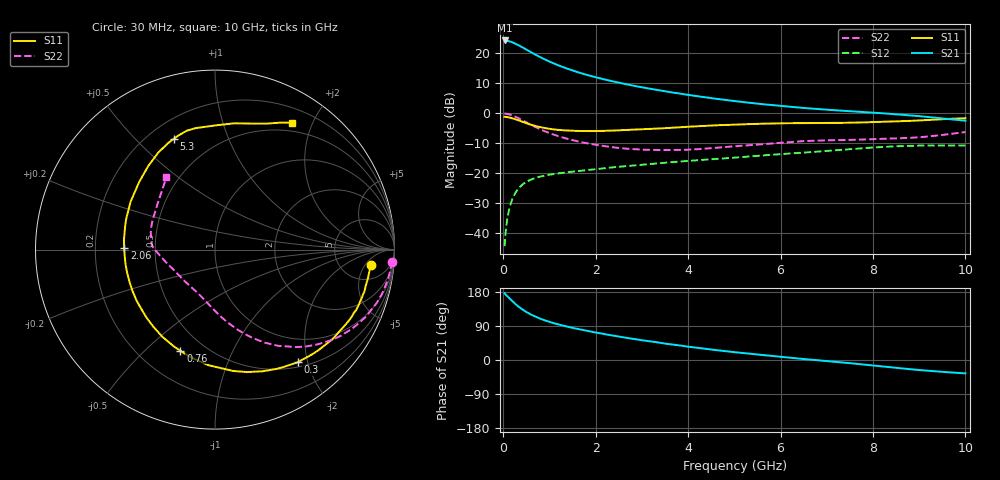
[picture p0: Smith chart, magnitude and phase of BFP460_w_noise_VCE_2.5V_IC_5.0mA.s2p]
! (c) 2016  Infineon Technologies AG, Munich
! Infineon Technologies  Discrete & RF Semiconductors
! BFP460
! VCE =  2.5 V,  IC =  5.0 mA
! Common Emitter S-Parameters:  Jan 2016
# GHz  S  MA  R  50
!  f  S11  S21  S12  S22
! GHz  MAG  ANG  MAG  ANG  MAG  ANG  MAG  ANG
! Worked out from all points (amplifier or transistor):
!   229 points, 30 MHz to 10 GHz, reference 50 ohm
!   highest |S21| = 24.3 dB at 30 MHz (marker M1)
!   |S21| within 3 dB of that: start of sweep to 495.3 MHz
!   unconditionally stable (mu >= 1): 3.087 GHz to 7.92 GHz
!   at 280 MHz: K = 0.16, MSG = 24.6 dB, |S12| = -26.1 dB
!   at 1.78 GHz: K = 0.76, MSG = 15.9 dB, |S12| = -19.0 dB
!   at 10 GHz: K = 0.95, MSG = 4.1 dB, |S12| = -10.7 dB
!   lowest NFmin = 0.78 dB at 450 MHz
!   S11 on the Smith chart (normalised r, x): 30 MHz: 9, -7; 300 MHz: 0.57, -1.83; 760 MHz: 0.37, -0.65; 2.06 GHz: 0.33, +0.01; 5.3 GHz: 0.30, +0.65; 10 GHz: 0.38, +1.71
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0.03  0.8718 -5.8  16.32 176.3  0.0061 86.3  0.9874 -3.9
0.05  0.8677 -9.4  16.2 172.8  0.0101 84.3  0.9842 -6.3
0.07  0.8636 -13.4  16.25 170.3  0.0139 82.2  0.9798 -8.8
0.155  0.8405 -29.3  15.59 159.9  0.0298 74.0  0.9443 -19.1
0.22  0.8126 -40.5  14.94 152.5  0.0406 68.2  0.9045 -26.3
0.3  0.7784 -53.8  13.99 143.9  0.052 62.0  0.849 -34.5
0.4  0.7284 -68.5  12.72 134.6  0.0633 55.5  0.7748 -43.1
0.48  0.6912 -79.0  11.73 128.3  0.0703 51.2  0.7184 -49.0
0.6  0.645 -93.3  10.4 119.9  0.0786 46.1  0.6424 -56.6
0.76  0.5954 -108.9  8.918 111.2  0.0864 41.3  0.559 -64.5
0.9  0.5676 -121.0  7.883 104.6  0.0916 38.4  0.5006 -70.4
1.1  0.5378 -135.2  6.719 96.9  0.0974 35.6  0.4379 -77.1
1.4  0.5151 -152.6  5.475 87.6  0.1045 33.3  0.3719 -85.3
1.7  0.5058 -166.7  4.608 79.6  0.111 32.0  0.3285 -92.2
2.06  0.5059 179.0  3.874 71.3  0.1188 31.1  0.2932 -99.8
2.62  0.5239 160.6  3.087 59.4  0.131 29.9  0.2586 -112.8
3.4  0.5585 140.9  2.392 45.3  0.1479 28.0  0.244 -131.3
5.1  0.6516 112.7  1.563 19.5  0.1846 23.5  0.2851 -166.6
5.3  0.6584 110.4  1.502 17.0  0.1899 22.8  0.2922 -169.1
6.8  0.6856 96.0  1.176 -0.6  0.2293 16.7  0.3496 176.8
8.4  0.7253 75.5  0.974 -19.4  0.2791 5.8  0.3792 158.8
10  0.8267 58.7  0.752 -35.3  0.2903 -5.9  0.4859 123.8
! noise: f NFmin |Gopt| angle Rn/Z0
0.45  0.78  0.33  16  0.17
0.9  0.8  0.34  31  0.17
1.9  1.06  0.17  97  0.13
3.5  1.24  0.33  -153  0.1
